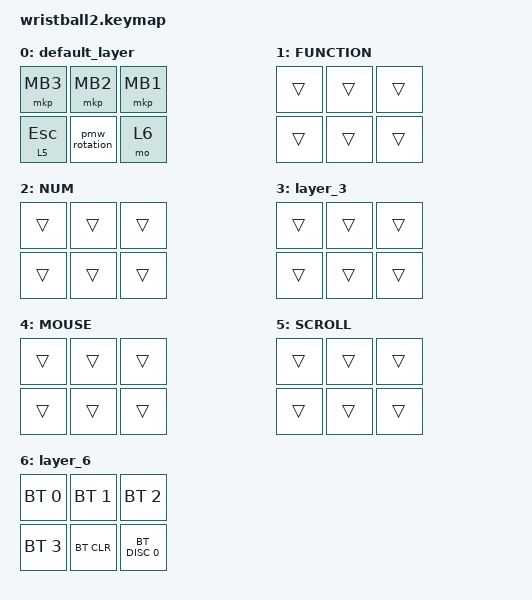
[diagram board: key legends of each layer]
#include <behaviors/rgbled_widget.dtsi>
#include <behaviors.dtsi>
#include <dt-bindings/zmk/bt.h>
#include <dt-bindings/zmk/keys.h>
#include <dt-bindings/zmk/pointing.h>

&mt {
    flavor = "balanced";
    quick-tap-ms = <0>;
};

&trackball {
    // automouse-layer = <1>;

    scroll-layers = <5>;

    // arrows {
    //     layers = <3>;
    //     bindings =
    //         <&kp RIGHT_ARROW>,
    //         <&kp LEFT_ARROW>,
    //         <&kp UP_ARROW>,
    //         <&kp DOWN_ARROW>;
    //     tick = <10>;
    //     wait-ms = <5>;
    //     tap-ms = <5>;
    // };
};

/ {
    behaviors {
        pmw_rotation: pmw_rotation {
            compatible = "zmk,behavior-pmw-rotation";
            #binding-cells = <0>;
        };
    };

    combos {
        compatible = "zmk,combos";

        tab {
            bindings = <&kp TAB>;
            key-positions = <11 12>;
        };

        shift_tab {
            bindings = <&kp LS(TAB)>;
            key-positions = <12 13>;
        };

        muhennkann {
            bindings = <&to_layer_0 INT_MUHENKAN>;
            key-positions = <11 10>;
        };

        double_quotation {
            bindings = <&kp DOUBLE_QUOTES>;
            key-positions = <20 21>;
        };

        eq {
            bindings = <&kp EQUAL>;
            key-positions = <24 25>;
        };

        BT_Next {
            bindings = <&bt BT_NXT>;
            key-positions = <0 1>;
        };

        BT_Pre {
            bindings = <&bt BT_PRV>;
            key-positions = <2 3>;
        };
    };

    macros {
        to_layer_0: to_layer_0 {
            compatible = "zmk,behavior-macro-one-param";
            #binding-cells = <1>;
            bindings = <&to 0 &macro_param_1to1 &kp MACRO_PLACEHOLDER>;
            label = "TO_LAYER_0";
        };
    };

    behaviors {
        lt_to_layer_0: lt_to_layer_0 {
            compatible = "zmk,behavior-hold-tap";
            label = "LAYER_TAP_TO_0";
            bindings = <&mo>, <&to_layer_0>;

            #binding-cells = <2>;
            tapping-term-ms = <200>;
        };
    };

    keymap {
        compatible = "zmk,keymap";

        default_layer {
            bindings = <
&mkp MB3   &mkp MB2       &mkp MB1
&lt 5 ESC  &pmw_rotation  &mo 6
            >;
        };

        FUNCTION {
            bindings = <
&trans  &trans  &trans
&trans  &trans  &trans
            >;
        };

        NUM {
            bindings = <
&trans  &trans  &trans
&trans  &trans  &trans
            >;
        };

        layer_3 {
            bindings = <
&trans  &trans  &trans
&trans  &trans  &trans
            >;
        };

        MOUSE {
            bindings = <
&trans  &trans  &trans
&trans  &trans  &trans
            >;
        };

        SCROLL {
            bindings = <
&trans  &trans  &trans
&trans  &trans  &trans
            >;
        };

        layer_6 {
            bindings = <
&bt BT_SEL 0  &bt BT_SEL 1  &bt BT_SEL 2
&bt BT_SEL 3  &bt BT_CLR    &bt BT_DISC 0
            >;
        };
    };
};
